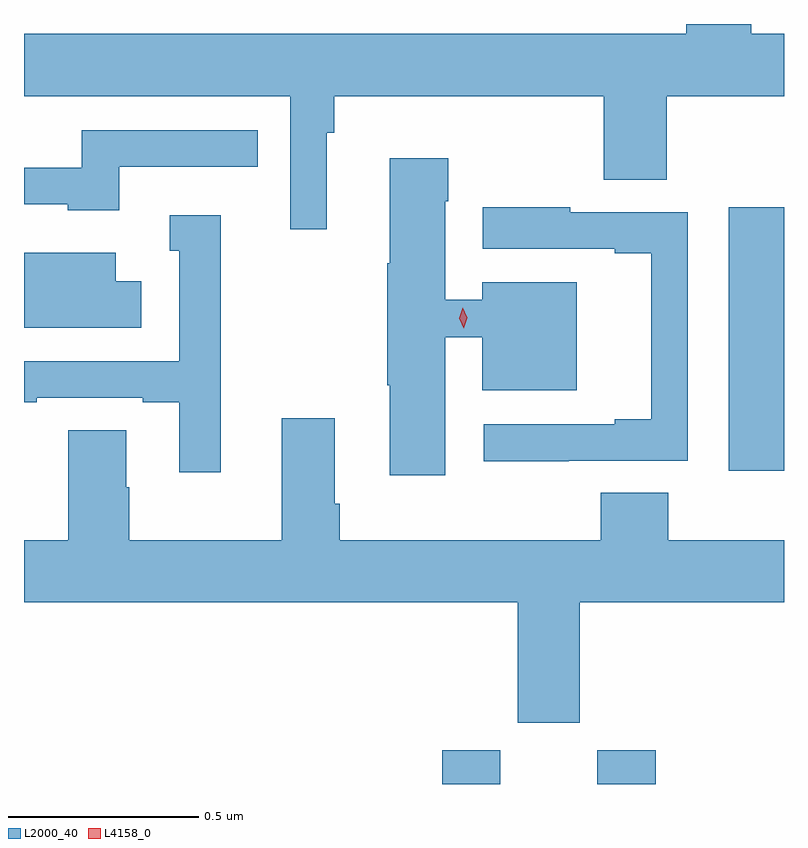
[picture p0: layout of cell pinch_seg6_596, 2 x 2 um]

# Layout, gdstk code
import gdstk
lib = gdstk.Library(unit=1e-6, precision=1e-09)
def R(c, l, rs):  # rectangles x0, y0, x1, y1
    for r in rs: c.add(gdstk.rectangle(r[:2], r[2:], *l))
def P(c, l, *ps):  # polygons
    for p in ps: c.add(gdstk.Polygon(p, *l))
L2000_40 = (2000, 40)
L4158_0 = (4158, 0)

pinch_seg6_596 = lib.new_cell('pinch_seg6_596')
R(pinch_seg6_596, L2000_40, [(571.292,960.178,571.444,960.267), (571.7,960.178,571.853,960.267), (572.045,961.002,572.191,961.696)])
P(pinch_seg6_596, L2000_40, [(570.988,961.892),(571.007,961.892),(571.007,961.988),(571.717,961.988),(571.717,961.768),(571.883,961.768),(571.883,961.988),(572.191,961.988),(572.191,962.152),(572.105,962.152),(572.105,962.178),(571.934,962.178),(571.934,962.152),(570.191,962.152),(570.191,961.988),(570.891,961.988),(570.891,961.638),(570.988,961.638)],
  [(570.442,961.803),(570.806,961.803),(570.806,961.899),(570.343,961.899),(570.343,961.8),(570.191,961.8),(570.191,961.704),(570.306,961.704),(570.306,961.688),(570.442,961.688)],
  [(571.3,961.354),(571.397,961.354),(571.397,961.214),(571.645,961.214),(571.645,961.498),(571.397,961.498),(571.397,961.453),(571.3,961.453),(571.3,961.712),(571.308,961.712),(571.308,961.825),(571.154,961.825),(571.154,961.549),(571.147,961.549),(571.147,961.228),(571.154,961.228),(571.154,960.99),(571.3,960.99)],
  [(571.625,961.029),(571.938,961.029),(571.938,961.683),(571.628,961.683),(571.628,961.696),(571.398,961.696),(571.398,961.587),(571.745,961.587),(571.745,961.575),(571.841,961.575),(571.841,961.138),(571.745,961.138),(571.745,961.125),(571.401,961.125),(571.401,961.028),(571.625,961.028)],
  [(570.709,961.675),(570.575,961.675),(570.575,961.581),(570.6,961.581),(570.6,961.29),(570.191,961.29),(570.191,961.182),(570.224,961.182),(570.224,961.194),(570.503,961.194),(570.503,961.182),(570.599,961.182),(570.599,960.999),(570.709,960.999)],
  [(570.499,961.501),(570.433,961.501),(570.433,961.576),(570.191,961.576),(570.191,961.379),(570.499,961.379)],
  [(571.654,960.656),(572.191,960.656),(572.191,960.82),(571.886,960.82),(571.886,960.944),(571.709,960.944),(571.709,960.82),(571.022,960.82),(571.022,960.916),(571.009,960.916),(571.009,961.141),(570.869,961.141),(570.869,960.82),(570.468,960.82),(570.468,960.959),(570.46,960.959),(570.46,961.109),(570.308,961.109),(570.308,960.82),(570.191,960.82),(570.191,960.656),(571.49,960.656),(571.49,960.339),(571.654,960.339)])
P(pinch_seg6_596, L4158_0, [(571.348,961.378),(571.348,961.378),(571.337,961.404),(571.346,961.431),(571.346,961.431),(571.346,961.431),(571.357,961.405),(571.348,961.378)])

lib.write_gds('pinch_seg6_596.gds')
